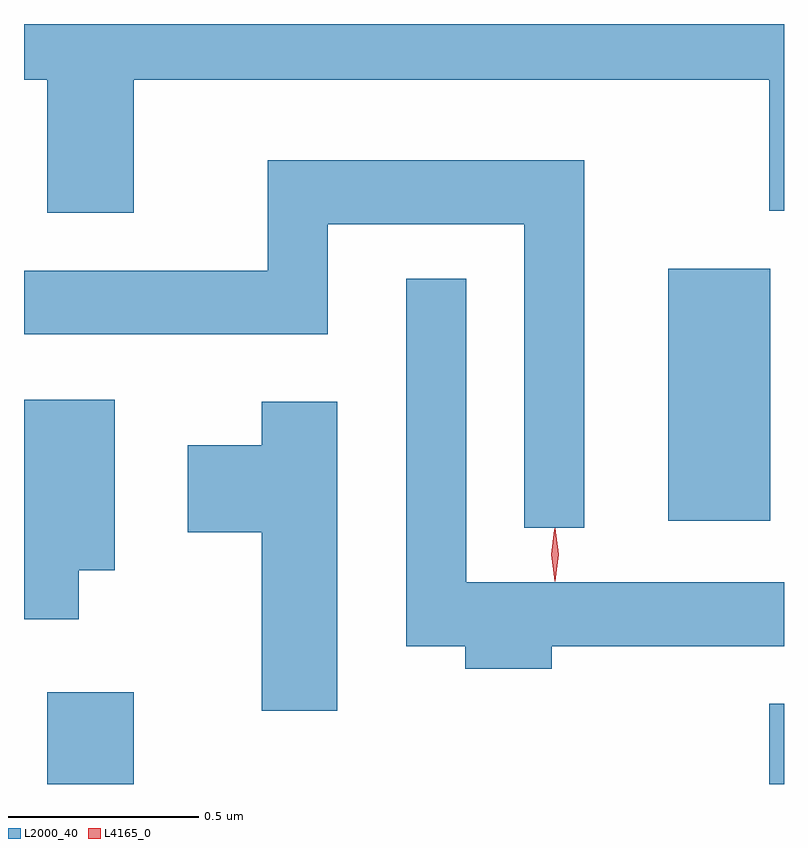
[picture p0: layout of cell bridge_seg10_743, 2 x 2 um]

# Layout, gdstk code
import gdstk
lib = gdstk.Library(unit=1e-6, precision=1e-09)
def R(c, l, rs):  # rectangles x0, y0, x1, y1
    for r in rs: c.add(gdstk.rectangle(r[:2], r[2:], *l))
def P(c, l, *ps):  # polygons
    for p in ps: c.add(gdstk.Polygon(p, *l))
L2000_40 = (2000, 40)
L4165_0 = (4165, 0)

bridge_seg10_743 = lib.new_cell('bridge_seg10_743')
R(bridge_seg10_743, L2000_40, [(1015.781,2116.503,1016.009,2116.744), (1017.681,2116.503,1017.72,2116.714), (1017.416,2117.196,1017.684,2117.859)])
P(bridge_seg10_743, L2000_40, [(1016.009,2118.356),(1017.681,2118.356),(1017.681,2118.011),(1017.72,2118.011),(1017.72,2118.503),(1015.72,2118.503),(1015.72,2118.356),(1015.781,2118.356),(1015.781,2118.006),(1016.009,2118.006)],
  [(1017.194,2118.144),(1016.361,2118.144),(1016.361,2117.854),(1015.72,2117.854),(1015.72,2117.686),(1016.519,2117.686),(1016.519,2117.976),(1017.036,2117.976),(1017.036,2117.178),(1017.194,2117.178)],
  [(1017.109,2116.866),(1017.72,2116.866),(1017.72,2117.034),(1016.884,2117.034),(1016.884,2117.833),(1016.726,2117.833),(1016.726,2116.866),(1016.881,2116.866),(1016.881,2116.806),(1017.109,2116.806)],
  [(1015.864,2117.066),(1015.959,2117.066),(1015.959,2117.514),(1015.72,2117.514),(1015.72,2116.936),(1015.864,2116.936)],
  [(1016.544,2117.509),(1016.346,2117.509),(1016.346,2117.394),(1016.151,2117.394),(1016.151,2117.166),(1016.346,2117.166),(1016.346,2116.696),(1016.544,2116.696)])
P(bridge_seg10_743, L4165_0, [(1017.117,2117.039),(1017.117,2117.04),(1017.107,2117.106),(1017.116,2117.172),(1017.117,2117.173),(1017.118,2117.172),(1017.127,2117.106),(1017.118,2117.04)],
  [(1017.117,2117.037),(1017.117,2117.037),(1017.107,2117.107),(1017.117,2117.176),(1017.117,2117.176),(1017.118,2117.176),(1017.127,2117.107),(1017.118,2117.037)])

lib.write_gds('bridge_seg10_743.gds')
